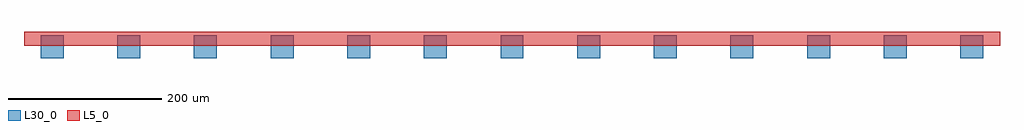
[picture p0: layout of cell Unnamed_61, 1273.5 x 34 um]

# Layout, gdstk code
import gdstk
lib = gdstk.Library(unit=1e-6, precision=1e-09)
def R(c, l, rs):  # rectangles x0, y0, x1, y1
    for r in rs: c.add(gdstk.rectangle(r[:2], r[2:], *l))
L5_0 = (5, 0)
L30_0 = (30, 0)

unnamed_61 = lib.new_cell('Unnamed_61')
R(unnamed_61, L5_0, [(-1636,-9,-362.5,9)])
R(unnamed_61, L30_0, [(-1614.25,-25,-1584.25,5), (-1514.25,-25,-1484.25,5), (-1514.25,-25,-1484.25,5), (-1414.25,-25,-1384.25,5), (-1414.25,-25,-1384.25,5), (-1414.25,-25,-1384.25,5), (-1314.25,-25,-1284.25,5), (-1314.25,-25,-1284.25,5), (-1314.25,-25,-1284.25,5), (-1314.25,-25,-1284.25,5), (-1214.25,-25,-1184.25,5), (-1214.25,-25,-1184.25,5), (-1214.25,-25,-1184.25,5), (-1214.25,-25,-1184.25,5), (-1214.25,-25,-1184.25,5), (-1114.25,-25,-1084.25,5), (-1114.25,-25,-1084.25,5), (-1114.25,-25,-1084.25,5), (-1114.25,-25,-1084.25,5), (-1114.25,-25,-1084.25,5), (-1114.25,-25,-1084.25,5), (-1014.25,-25,-984.25,5), (-1014.25,-25,-984.25,5), (-1014.25,-25,-984.25,5), (-1014.25,-25,-984.25,5), (-1014.25,-25,-984.25,5), (-1014.25,-25,-984.25,5), (-1014.25,-25,-984.25,5), (-914.25,-25,-884.25,5), (-914.25,-25,-884.25,5), (-914.25,-25,-884.25,5), (-914.25,-25,-884.25,5), (-914.25,-25,-884.25,5), (-914.25,-25,-884.25,5), (-914.25,-25,-884.25,5), (-914.25,-25,-884.25,5), (-814.25,-25,-784.25,5), (-814.25,-25,-784.25,5), (-814.25,-25,-784.25,5), (-814.25,-25,-784.25,5), (-814.25,-25,-784.25,5), (-814.25,-25,-784.25,5), (-814.25,-25,-784.25,5), (-814.25,-25,-784.25,5), (-814.25,-25,-784.25,5), (-714.25,-25,-684.25,5), (-714.25,-25,-684.25,5), (-714.25,-25,-684.25,5), (-714.25,-25,-684.25,5), (-714.25,-25,-684.25,5), (-714.25,-25,-684.25,5), (-714.25,-25,-684.25,5), (-714.25,-25,-684.25,5), (-714.25,-25,-684.25,5), (-714.25,-25,-684.25,5), (-614.25,-25,-584.25,5), (-614.25,-25,-584.25,5), (-614.25,-25,-584.25,5), (-614.25,-25,-584.25,5), (-614.25,-25,-584.25,5), (-614.25,-25,-584.25,5), (-614.25,-25,-584.25,5), (-614.25,-25,-584.25,5), (-614.25,-25,-584.25,5), (-614.25,-25,-584.25,5), (-614.25,-25,-584.25,5), (-514.25,-25,-484.25,5), (-514.25,-25,-484.25,5), (-514.25,-25,-484.25,5), (-514.25,-25,-484.25,5), (-514.25,-25,-484.25,5), (-514.25,-25,-484.25,5), (-514.25,-25,-484.25,5), (-514.25,-25,-484.25,5), (-514.25,-25,-484.25,5), (-514.25,-25,-484.25,5), (-514.25,-25,-484.25,5), (-514.25,-25,-484.25,5), (-414.25,-25,-384.25,5), (-414.25,-25,-384.25,5), (-414.25,-25,-384.25,5), (-414.25,-25,-384.25,5), (-414.25,-25,-384.25,5), (-414.25,-25,-384.25,5), (-414.25,-25,-384.25,5), (-414.25,-25,-384.25,5), (-414.25,-25,-384.25,5), (-414.25,-25,-384.25,5), (-414.25,-25,-384.25,5), (-414.25,-25,-384.25,5), (-414.25,-25,-384.25,5)])

lib.write_gds('Unnamed_61.gds')
